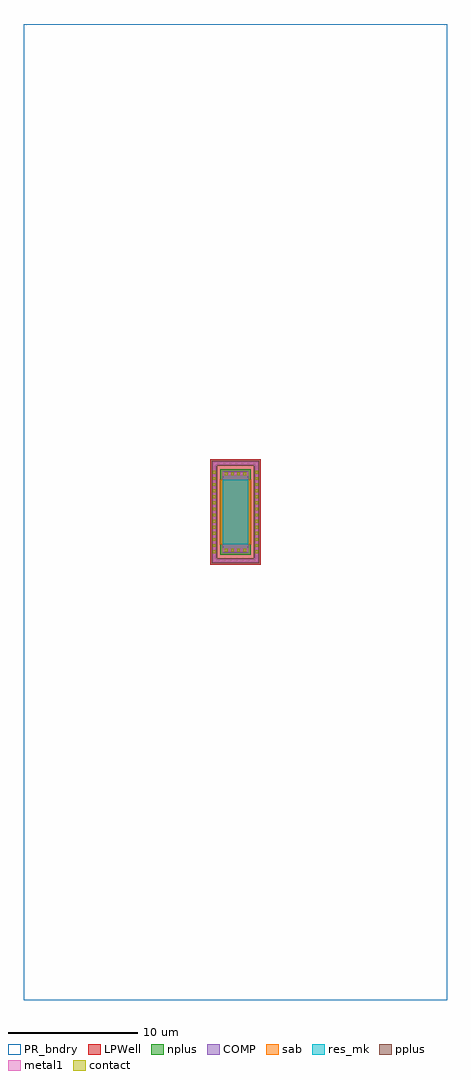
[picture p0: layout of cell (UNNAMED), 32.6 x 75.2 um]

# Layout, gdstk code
import gdstk
lib = gdstk.Library(unit=1e-6, precision=1e-09)
def R(c, l, rs):  # rectangles x0, y0, x1, y1
    for r in rs: c.add(gdstk.rectangle(r[:2], r[2:], *l))
def A(c, l, x, y, w, h, nx, ny, dx, dy):  # array of equal rectangles
    R(c, l, [(x+i*dx, y+j*dy, x+i*dx+w, y+j*dy+h) for i in range(nx) for j in range(ny)])
PR_bndry = (0, 0)
COMP = (22, 0)
pplus = (31, 0)
nplus = (32, 0)
contact = (33, 0)
metal1 = (34, 0)
sab = (49, 0)
res_mk = (110, 5)
LPWell = (204, 0)

c__unnamed_ = lib.new_cell('(UNNAMED)')
R(c__unnamed_, PR_bndry, [(-16.3,-37.6,16.3,37.6)])
R(c__unnamed_, COMP, [(-1.81,-3.94,1.81,-3.58), (-1.81,-3.58,-1.45,3.58), (1.45,-3.58,1.81,3.58), (-1,-3.13,1,3.13), (-1.81,3.58,1.81,3.94)])
R(c__unnamed_, pplus, [(-1.83,-3.96,1.83,-3.56), (-1.83,-3.56,-1.42,-3.455), (1.42,-3.56,1.83,-3.455), (-1.84,-3.455,-1.42,3.455), (1.42,-3.455,1.84,3.455), (-1.83,3.455,-1.42,3.56), (1.42,3.455,1.83,3.56), (-1.83,3.56,1.83,3.96)])
R(c__unnamed_, nplus, [(-1.18,-3.31,1.18,3.31), (-1.16,-3.29,1.16,3.29)])
A(c__unnamed_, contact, -1.74, -3.165, 0.22, 0.22, 1, 14, 0, 0.47)
A(c__unnamed_, contact, 1.52, -3.165, 0.22, 0.22, 1, 14, 0, 0.47)
A(c__unnamed_, contact, -0.815, -3.06, 0.22, 0.22, 4, 2, 0.47, 5.9)
R(c__unnamed_, metal1, [(-1.745,-3.875,1.745,-3.645), (-1.745,-3.645,-1.515,3.645), (1.515,-3.645,1.745,3.645), (-0.99,-3.065,0.99,-2.835), (-0.99,2.835,0.99,3.065), (-1.745,3.645,1.745,3.875)])
R(c__unnamed_, sab, [(-1.22,-2.5,1.22,2.5)])
R(c__unnamed_, res_mk, [(-1,-2.5,1,2.5)])
R(c__unnamed_, LPWell, [(-1.93,-4.06,1.93,4.06)])

lib.write_gds('_UNNAMED_.gds')
